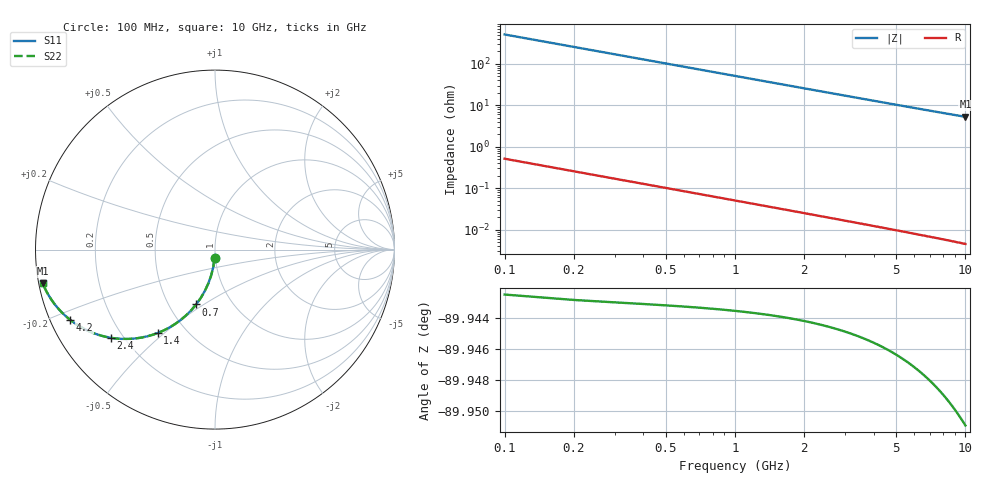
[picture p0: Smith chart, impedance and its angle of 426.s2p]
# Hz S RI R 50.00
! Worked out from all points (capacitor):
!   100 points, 100 MHz to 10 GHz, reference 50 ohm
!   read as one part in shunt: C = 3.11 pF near 100 MHz
!   lowest |Z| = 5.27 ohm at 10 GHz (marker M1)
!   S11 on the Smith chart (normalised r, x): 100 MHz: 0.99, -0.10; 700 MHz: 0.68, -0.46; 1.4 GHz: 0.35, -0.48; 2.4 GHz: 0.15, -0.36; 4.2 GHz: 0.06, -0.23; 10 GHz: 0.01, -0.10
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1e8  -0.0024 -0.0487  0.9975 -0.0488  0.9975 -0.0488  -0.0024 -0.0487
2e8  -0.00953 -0.0967  0.9904 -0.0969  0.9904 -0.0969  -0.00953 -0.0967
3e8  -0.0211 -0.1433  0.9788 -0.1437  0.9788 -0.1437  -0.0211 -0.1433
4e8  -0.0369 -0.1879  0.963 -0.1885  0.963 -0.1885  -0.0369 -0.1879
5e8  -0.0565 -0.2301  0.9434 -0.2308  0.9434 -0.2308  -0.0565 -0.2301
6e8  -0.0793 -0.2694  0.9206 -0.2702  0.9206 -0.2702  -0.0793 -0.2694
7e8  -0.1049 -0.3055  0.895 -0.3065  0.895 -0.3065  -0.1049 -0.3055
8e8  -0.1328 -0.3383  0.8672 -0.3394  0.8672 -0.3394  -0.1328 -0.3383
1e9  -0.1929 -0.3934  0.807 -0.3948  0.807 -0.3948  -0.1929 -0.3934
1.2e9  -0.256 -0.4351  0.744 -0.4367  0.744 -0.4367  -0.256 -0.4351
1.4e9  -0.3188 -0.4646  0.6811 -0.4665  0.6811 -0.4665  -0.3188 -0.4646
1.8e9  -0.436 -0.4942  0.5639 -0.4966  0.5639 -0.4966  -0.436 -0.4942
2.1e9  -0.5126 -0.4979  0.4873 -0.5008  0.4873 -0.5008  -0.5126 -0.4979
2.4e9  -0.5786 -0.4916  0.4213 -0.4949  0.4213 -0.4949  -0.5786 -0.4916
2.9e9  -0.6671 -0.4688  0.3329 -0.4727  0.3329 -0.4727  -0.6671 -0.4688
3.4e9  -0.7335 -0.4393  0.2664 -0.4439  0.2664 -0.4439  -0.7335 -0.4393
4.2e9  -0.8076 -0.3908  0.1923 -0.3965  0.1923 -0.3965  -0.8076 -0.3908
5.1e9  -0.8609 -0.342  0.1391 -0.349  0.1391 -0.349  -0.8609 -0.342
5.8e9  -0.8889 -0.3097  0.111 -0.3177  0.111 -0.3177  -0.8889 -0.3097
6.7e9  -0.9144 -0.2746  0.0855 -0.2838  0.0855 -0.2838  -0.9144 -0.2746
8.4e9  -0.9438 -0.2238  0.056 -0.2354  0.056 -0.2354  -0.9438 -0.2238
1e10  -0.9598 -0.1887  0.04 -0.2027  0.04 -0.2027  -0.9598 -0.1887
